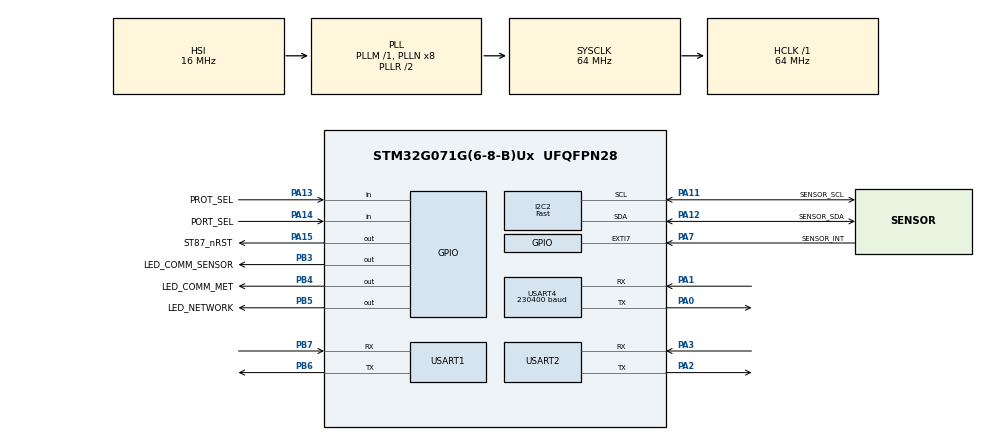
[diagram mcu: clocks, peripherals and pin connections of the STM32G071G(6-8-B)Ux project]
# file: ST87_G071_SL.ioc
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Dma.Request0=USART4_TX
Dma.USART4_TX.0.Direction=DMA_MEMORY_TO_PERIPH
Dma.USART4_TX.0.EventEnable=DISABLE
Dma.USART4_TX.0.Instance=DMA1_Channel4
Dma.USART4_TX.0.MemDataAlignment=DMA_MDATAALIGN_BYTE
Dma.USART4_TX.0.MemInc=DMA_MINC_ENABLE
Dma.USART4_TX.0.Mode=DMA_NORMAL
Dma.USART4_TX.0.PeriphDataAlignment=DMA_PDATAALIGN_BYTE
Dma.USART4_TX.0.PeriphInc=DMA_PINC_DISABLE
Dma.USART4_TX.0.Polarity=HAL_DMAMUX_REQ_GEN_RISING
Dma.USART4_TX.0.Priority=DMA_PRIORITY_LOW
Dma.USART4_TX.0.RequestNumber=1
Dma.USART4_TX.0.SignalID=NONE
Dma.USART4_TX.0.SyncEnable=DISABLE
Dma.USART4_TX.0.SyncPolarity=HAL_DMAMUX_SYNC_NO_EVENT
Dma.USART4_TX.0.SyncRequestNumber=1
Dma.USART4_TX.0.SyncSignalID=NONE
FREERTOS.Queues01=MetroQueue,1,20,1,Dynamic,NULL,NULL;SensorQueue,1,20,1,Dynamic,NULL,NULL;LedStatusQueue,1,4,1,Dynamic,NULL,NULL;MetroCommStatus,1,uint8_t,0,Dynamic,NULL,NULL;ST87CommStatus,1,uint8_t,0,Dynamic,NULL,NULL;LedStatusQueueCloud,1,4,1,Dynamic,NULL,NULL
FREERTOS.Tasks01=defaultTask,24,128,StartDefaultTask,Default,NULL,Dynamic,NULL,NULL;CloudTask,24,128,StartCloudTask,Default,NULL,Dynamic,NULL,NULL;MetroTask,24,128,StartMetroTask,Default,NULL,Dynamic,NULL,NULL;SensorTask,24,128,StartSensorTask,Default,NULL,Dynamic,NULL,NULL
FREERTOS.configTOTAL_HEAP_SIZE=12000
I2C2.I2C_Speed_Mode=I2C_Fast
I2C2.Timing=0x00C12166
Mcu.Family=STM32G0
Mcu.Name=STM32G071G(6-8-B)Ux
Mcu.Package=UFQFPN28
NVIC.DMA1_Ch4_7_DMAMUX1_OVR_IRQn=true\:3\:0\:false\:false\:true\:false\:false\:true\:true
NVIC.TIM1_BRK_UP_TRG_COM_IRQn=true\:1\:0\:true\:false\:true\:false\:true\:true\:true
NVIC.TIM6_DAC_LPTIM1_IRQn=true\:3\:0\:false\:false\:true\:false\:false\:true\:true
NVIC.TimeBase=TIM6_DAC_LPTIM1_IRQn
NVIC.TimeBaseIP=TIM6
NVIC.USART2_IRQn=true\:2\:0\:true\:false\:true\:false\:true\:true\:true
NVIC.USART3_4_LPUART1_IRQn=true\:3\:0\:false\:false\:true\:true\:true\:true\:true
PA0.Mode=Asynchronous
PA0.Signal=USART4_TX
PA1.Mode=Asynchronous
PA1.Signal=USART4_RX
PA11\ [PA9].GPIO_Label=SENSOR_SCL
PA11\ [PA9].Mode=I2C
PA11\ [PA9].Signal=I2C2_SCL
PA12\ [PA10].GPIO_Label=SENSOR_SDA
PA12\ [PA10].Mode=I2C
PA12\ [PA10].Signal=I2C2_SDA
PA13.GPIO_Label=PROT_SEL
PA13.GPIO_PuPd=GPIO_PULLUP
PA13.Signal=GPIO_Input
PA14-BOOT0.GPIO_Label=PORT_SEL
PA14-BOOT0.GPIO_PuPd=GPIO_PULLDOWN
PA14-BOOT0.Signal=GPIO_Input
PA15.GPIO_Label=ST87_nRST
PA15.Signal=GPIO_Output
PA2.GPIO_Speed=GPIO_SPEED_FREQ_MEDIUM
PA2.Mode=Asynchronous
PA2.Signal=USART2_TX
PA3.GPIO_Speed=GPIO_SPEED_FREQ_MEDIUM
PA3.Mode=Asynchronous
PA3.Signal=USART2_RX
PA7.GPIO_Label=SENSOR_INT
PA7.GPIO_PuPd=GPIO_NOPULL
PA7.Signal=GPXTI7
PB3.GPIO_Label=LED_COMM_SENSOR
PB3.Signal=GPIO_Output
PB4.GPIO_Label=LED_COMM_MET
PB4.Signal=GPIO_Output
PB5.GPIO_Label=LED_NETWORK
PB5.Signal=GPIO_Output
PB6.Mode=Asynchronous
PB6.Signal=USART1_TX
PB7.Mode=Asynchronous
PB7.Signal=USART1_RX
ProjectManager.HeapSize=0x400
ProjectManager.StackSize=0x800
ProjectManager.TargetToolchain=EWARM V8.50
RCC.ADCFreq_Value=64000000
RCC.AHBFreq_Value=64000000
RCC.CortexFreq_Value=64000000
RCC.EXTERNAL_CLOCK_VALUE=48000
RCC.HCLKFreq_Value=64000000
RCC.HSE_VALUE=8000000
RCC.HSI_VALUE=16000000
RCC.LSE_VALUE=32768
RCC.PLLQ=RCC_PLLQ_DIV4
RCC.SYSCLKFreq_VALUE=64000000
RCC.SYSCLKSource=RCC_SYSCLKSOURCE_PLLCLK
RCC.VCOOutputFreq_Value=128000000
TIM1.Period=63999
USART1.DataInvertParam=ADVFEATURE_DATAINV_DISABLE
USART1.SwapParam=ADVFEATURE_SWAP_ENABLE
USART1.VirtualMode-Asynchronous=VM_ASYNC
USART2.SwapParam=ADVFEATURE_SWAP_ENABLE
USART2.VirtualMode-Asynchronous=VM_ASYNC
USART4.BaudRate=230400
USART4.VirtualMode-Asynchronous=VM_ASYNC
VP_FREERTOS_VS_CMSIS_V2.Mode=CMSIS_V2
VP_SYS_VS_DBSignals.Mode=DisableDeadBatterySignals
VP_SYS_VS_tim6.Mode=TIM6
VP_TIM1_VS_ClockSourceINT.Mode=Internal
board=custom

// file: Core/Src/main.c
/* USER CODE BEGIN Header */
/**
  ******************************************************************************
  * @file           : main.c
  * @brief          : Main program body
  ******************************************************************************
  * @attention
  *
  * Copyright (c) 2024 STMicroelectronics.
  * All rights reserved.
  *
  * This software is licensed under terms that can be found in the LICENSE file
  * in the root directory of this software component.
  * If no LICENSE file comes with this software, it is provided AS-IS.
  *
  ******************************************************************************
  */

/************** This version is based on ST87_G071_SL_V007_OK ************/
/********Compatible with ST87 FW version > 2.6.0 *******************
 * - added TCP/UDP selection through PA4 (P3 connector - pin1 )
 * - Tx time configurable from 5 to 60sec via webpage
 * - Stable connection with TIM
 * - changed size of cloud_data_t, lamp_info_t, led_status_t
 * - New webserver format
 * - added 22/jan/26:
 * - Run with WEBSERVER3 or greater
 * - included UDP and UDP_1 for EU -> it uses SWD pin cannot be used for debug!!!!!!!
 * - included the command at#reset=1,1,0xc44f5b7f to make possible configure not official bands like USA bands
 */
/* USER CODE END Header */
#include "main.h"
#include "cmsis_os.h"

/* USER CODE BEGIN Includes */
#include "std_types.h"
#include "m2m_modem.h"
#include "stm32_st87m01.h"
#include "cloud_module.h"
#include "metrology_module.h"
#include "lis2du12_reg.h"
#include "sensor_module.h"
#include "modem_globals.h"
/* USER CODE END Includes */

I2C_HandleTypeDef hi2c2;

TIM_HandleTypeDef htim1;

UART_HandleTypeDef huart1;
UART_HandleTypeDef huart2;
UART_HandleTypeDef huart4;
DMA_HandleTypeDef hdma_usart4_tx;

/* Definitions for defaultTask */
osThreadId_t defaultTaskHandle;
const osThreadAttr_t defaultTask_attributes = {
  .name = "defaultTask",
  .priority = (osPriority_t) osPriorityNormal,
  .stack_size = 128 * 4
};
/* Definitions for CloudTask */
osThreadId_t CloudTaskHandle;
const osThreadAttr_t CloudTask_attributes = {
  .name = "CloudTask",
  .priority = (osPriority_t) osPriorityNormal,
  .stack_size = 128 * 4
};
/* Definitions for MetroTask */
osThreadId_t MetroTaskHandle;
const osThreadAttr_t MetroTask_attributes = {
  .name = "MetroTask",
  .priority = (osPriority_t) osPriorityNormal,
  .stack_size = 128 * 4
};
/* Definitions for SensorTask */
osThreadId_t SensorTaskHandle;
const osThreadAttr_t SensorTask_attributes = {
  .name = "SensorTask",
  .priority = (osPriority_t) osPriorityNormal,
  .stack_size = 128 * 4
};
/* Definitions for MetroQueue */
osMessageQueueId_t MetroQueueHandle;
const osMessageQueueAttr_t MetroQueue_attributes = {
  .name = "MetroQueue"
};
/* Definitions for SensorQueue */
osMessageQueueId_t SensorQueueHandle;
const osMessageQueueAttr_t SensorQueue_attributes = {
  .name = "SensorQueue"
};
/* Definitions for LedStatusQueue */
osMessageQueueId_t LedStatusQueueHandle;
const osMessageQueueAttr_t LedStatusQueue_attributes = {
  .name = "LedStatusQueue"
};
/* Definitions for MetroCommStatus */
osMessageQueueId_t MetroCommStatusHandle;
const osMessageQueueAttr_t MetroCommStatus_attributes = {
  .name = "MetroCommStatus"
};
/* Definitions for ST87CommStatus */
osMessageQueueId_t ST87CommStatusHandle;
const osMessageQueueAttr_t ST87CommStatus_attributes = {
  .name = "ST87CommStatus"
};
/* Definitions for LedStatusQueueCloud */
osMessageQueueId_t LedStatusQueueCloudHandle;
const osMessageQueueAttr_t LedStatusQueueCloud_attributes = {
  .name = "LedStatusQueueCloud"
};
/* USER CODE BEGIN PV */
uint32_t urc_counter=0;
uint8_t sckt_type;
uint8_t port_number=0;

/* USER CODE END PV */

void SystemClock_Config(void);
static void MX_GPIO_Init(void);
static void MX_DMA_Init(void);
static void MX_USART1_UART_Init(void);
static void MX_USART2_UART_Init(void);
static void MX_I2C2_Init(void);
static void MX_USART4_UART_Init(void);
void StartDefaultTask(void *argument);
void StartCloudTask(void *argument);
void StartMetroTask(void *argument);
void StartSensorTask(void *argument);

int main(void)
{

  /* MCU Configuration--------------------------------------------------------*/

  /* Reset of all peripherals, Initializes the Flash interface and the Systick. */
  HAL_Init();

  /* Configure the system clock */
  SystemClock_Config();

  /* Initialize all configured peripherals */
  MX_GPIO_Init();
  MX_DMA_Init();
  MX_USART1_UART_Init();
  MX_USART2_UART_Init();
  MX_I2C2_Init();
  MX_TIM1_Init();
  MX_USART4_UART_Init();
  /* USER CODE BEGIN 2 */

//  while (1)
//  {
//    USART2->TDR = 0x39;
//    HAL_Delay (1000);
//  }
//
  /* Start Channel1 */
  if (HAL_TIM_Base_Start_IT(&htim1) != HAL_OK)
  {
    /* Starting Error */
    Error_Handler();
  }

  //all Leds ON
  HAL_GPIO_WritePin(LED_NETWORK_GPIO_Port,  LED_NETWORK_Pin, GPIO_PIN_RESET);
  HAL_GPIO_WritePin(LED_COMM_MET_GPIO_Port, LED_COMM_MET_Pin, GPIO_PIN_RESET);
  HAL_GPIO_WritePin(LED_COMM_SENSOR_GPIO_Port, LED_COMM_SENSOR_Pin, GPIO_PIN_RESET);
  HAL_Delay (1000);
  HAL_GPIO_WritePin(LED_NETWORK_GPIO_Port,  LED_NETWORK_Pin, GPIO_PIN_SET);
  HAL_GPIO_WritePin(LED_COMM_MET_GPIO_Port, LED_COMM_MET_Pin, GPIO_PIN_SET);
  HAL_GPIO_WritePin(LED_COMM_SENSOR_GPIO_Port, LED_COMM_SENSOR_Pin, GPIO_PIN_SET);
  HAL_Delay (500);

#ifndef DEBUG_MODE
  /* define the protocol used by the application
   * PROT_SEL/PA13/SWDIO - default no jumper PA13 = 1 (internal pullup)
   * PROT_SEL/PA13/SWDIO - jumper P1-3 and P1-4
   */
  if (HAL_GPIO_ReadPin(PROT_SEL_GPIO_Port, PROT_SEL_Pin)==GPIO_PIN_SET)
  {
    sckt_type = UDP_TYPE;
    HAL_GPIO_WritePin(LED_NETWORK_GPIO_Port,  LED_NETWORK_Pin, GPIO_PIN_RESET);
    HAL_Delay(500);
    HAL_GPIO_WritePin(LED_NETWORK_GPIO_Port,  LED_NETWORK_Pin, GPIO_PIN_SET);
    HAL_Delay(1000);
  }
  else
  {
    sckt_type = TCP_TYPE;
    HAL_GPIO_WritePin(LED_NETWORK_GPIO_Port,  LED_NETWORK_Pin, GPIO_PIN_RESET);
    HAL_Delay(500);
    HAL_GPIO_WritePin(LED_NETWORK_GPIO_Port,  LED_NETWORK_Pin, GPIO_PIN_SET);
    HAL_Delay(500);
    HAL_GPIO_WritePin(LED_NETWORK_GPIO_Port,  LED_NETWORK_Pin, GPIO_PIN_RESET);
    HAL_Delay(500);
    HAL_GPIO_WritePin(LED_NETWORK_GPIO_Port,  LED_NETWORK_Pin, GPIO_PIN_SET);
    HAL_Delay(1000);
  }
#else
  // bernardino: change default sckt_type in debug mode to be TCP rather than UDP
  //sckt_type = UDP_TYPE;
  sckt_type = TCP_TYPE;

#endif

#ifndef DEBUG_MODE
  /* define the port used by the application
   * PORT_SEL/PA14/SWDCLK - default no jumper PA14 = 0 (internal pulldown)
   * PORT_SEL/PA14/SWDCLK - jumper P1-1 and P1-2
   */
  if (HAL_GPIO_ReadPin(PORT_SEL_GPIO_Port, PORT_SEL_Pin)==GPIO_PIN_RESET)
  {
    //port 0
    port_number=0;
    HAL_GPIO_WritePin(LED_COMM_MET_GPIO_Port, LED_COMM_MET_Pin, GPIO_PIN_RESET);
    HAL_Delay(500);
    HAL_GPIO_WritePin(LED_COMM_MET_GPIO_Port, LED_COMM_MET_Pin, GPIO_PIN_SET);
    HAL_Delay(1000);
  }
  else
  {
    //port 1
    port_number=1;
    HAL_GPIO_WritePin(LED_COMM_MET_GPIO_Port, LED_COMM_MET_Pin, GPIO_PIN_RESET);
    HAL_Delay(500);
    HAL_GPIO_WritePin(LED_COMM_MET_GPIO_Port, LED_COMM_MET_Pin, GPIO_PIN_SET);
    HAL_Delay(500);
    HAL_GPIO_WritePin(LED_COMM_MET_GPIO_Port, LED_COMM_MET_Pin, GPIO_PIN_RESET);
    HAL_Delay(500);
    HAL_GPIO_WritePin(LED_COMM_MET_GPIO_Port, LED_COMM_MET_Pin, GPIO_PIN_SET);
    HAL_Delay(1000);
  }
#else
  port_number=0;
#endif

  /* USER CODE END 2 */

  /* Init scheduler */
  osKernelInitialize();

  /* Create the queue(s) */
  /* creation of MetroQueue */
  MetroQueueHandle = osMessageQueueNew (1, 20, &MetroQueue_attributes);

  /* creation of SensorQueue */
  SensorQueueHandle = osMessageQueueNew (1, 20, &SensorQueue_attributes);

  /* creation of LedStatusQueue */
  LedStatusQueueHandle = osMessageQueueNew (1, 4, &LedStatusQueue_attributes);

  /* creation of MetroCommStatus */
  MetroCommStatusHandle = osMessageQueueNew (1, sizeof(uint8_t), &MetroCommStatus_attributes);

  /* creation of ST87CommStatus */
  ST87CommStatusHandle = osMessageQueueNew (1, sizeof(uint8_t), &ST87CommStatus_attributes);

  /* creation of LedStatusQueueCloud */
  LedStatusQueueCloudHandle = osMessageQueueNew (1, 4, &LedStatusQueueCloud_attributes);

  /* Create the thread(s) */
  /* creation of defaultTask */
  defaultTaskHandle = osThreadNew(StartDefaultTask, NULL, &defaultTask_attributes);

  /* creation of CloudTask */
  CloudTaskHandle = osThreadNew(StartCloudTask, NULL, &CloudTask_attributes);

  /* creation of MetroTask */
  MetroTaskHandle = osThreadNew(StartMetroTask, NULL, &MetroTask_attributes);

  /* creation of SensorTask */
  SensorTaskHandle = osThreadNew(StartSensorTask, NULL, &SensorTask_attributes);

  /* Start scheduler */
  osKernelStart();

  /* We should never get here as control is now taken by the scheduler */

  /* Infinite loop */
  while (1)
  {

  }
}

void SystemClock_Config(void)
{
  RCC_OscInitTypeDef RCC_OscInitStruct = {0};
  RCC_ClkInitTypeDef RCC_ClkInitStruct = {0};

  /** Configure the main internal regulator output voltage
  */
  HAL_PWREx_ControlVoltageScaling(PWR_REGULATOR_VOLTAGE_SCALE1);

  /** Initializes the RCC Oscillators according to the specified parameters
  * in the RCC_OscInitTypeDef structure.
  */
  RCC_OscInitStruct.OscillatorType = RCC_OSCILLATORTYPE_HSI;
  RCC_OscInitStruct.HSIState = RCC_HSI_ON;
  RCC_OscInitStruct.HSIDiv = RCC_HSI_DIV1;
  RCC_OscInitStruct.HSICalibrationValue = RCC_HSICALIBRATION_DEFAULT;
  RCC_OscInitStruct.PLL.PLLState = RCC_PLL_ON;
  RCC_OscInitStruct.PLL.PLLSource = RCC_PLLSOURCE_HSI;
  RCC_OscInitStruct.PLL.PLLM = RCC_PLLM_DIV1;
  RCC_OscInitStruct.PLL.PLLN = 8;
  RCC_OscInitStruct.PLL.PLLP = RCC_PLLP_DIV2;
  RCC_OscInitStruct.PLL.PLLQ = RCC_PLLQ_DIV4;
  RCC_OscInitStruct.PLL.PLLR = RCC_PLLR_DIV2;
  if (HAL_RCC_OscConfig(&RCC_OscInitStruct) != HAL_OK)
  {
    Error_Handler();
  }

  /** Initializes the CPU, AHB and APB buses clocks
  */
  RCC_ClkInitStruct.ClockType = RCC_CLOCKTYPE_HCLK|RCC_CLOCKTYPE_SYSCLK
                              |RCC_CLOCKTYPE_PCLK1;
  RCC_ClkInitStruct.SYSCLKSource = RCC_SYSCLKSOURCE_PLLCLK;
  RCC_ClkInitStruct.AHBCLKDivider = RCC_SYSCLK_DIV1;
  RCC_ClkInitStruct.APB1CLKDivider = RCC_HCLK_DIV1;

  if (HAL_RCC_ClockConfig(&RCC_ClkInitStruct, FLASH_LATENCY_2) != HAL_OK)
  {
    Error_Handler();
  }
}

static void MX_I2C2_Init(void)
{

  hi2c2.Instance = I2C2;
  hi2c2.Init.Timing = 0x00C12166;
  hi2c2.Init.OwnAddress1 = 0;
  hi2c2.Init.AddressingMode = I2C_ADDRESSINGMODE_7BIT;
  hi2c2.Init.DualAddressMode = I2C_DUALADDRESS_DISABLE;
  hi2c2.Init.OwnAddress2 = 0;
  hi2c2.Init.OwnAddress2Masks = I2C_OA2_NOMASK;
  hi2c2.Init.GeneralCallMode = I2C_GENERALCALL_DISABLE;
  hi2c2.Init.NoStretchMode = I2C_NOSTRETCH_DISABLE;
  if (HAL_I2C_Init(&hi2c2) != HAL_OK)
  {
    Error_Handler();
  }

  /** Configure Analogue filter
  */
  if (HAL_I2CEx_ConfigAnalogFilter(&hi2c2, I2C_ANALOGFILTER_ENABLE) != HAL_OK)
  {
    Error_Handler();
  }

  /** Configure Digital filter
  */
  if (HAL_I2CEx_ConfigDigitalFilter(&hi2c2, 0) != HAL_OK)
  {
    Error_Handler();
  }

}

void MX_TIM1_Init(void)
{

  TIM_ClockConfigTypeDef sClockSourceConfig = {0};
  TIM_MasterConfigTypeDef sMasterConfig = {0};

  htim1.Instance = TIM1;
  htim1.Init.Prescaler = 0;
  htim1.Init.CounterMode = TIM_COUNTERMODE_UP;
  htim1.Init.Period = 63999;
  htim1.Init.ClockDivision = TIM_CLOCKDIVISION_DIV1;
  htim1.Init.RepetitionCounter = 0;
  htim1.Init.AutoReloadPreload = TIM_AUTORELOAD_PRELOAD_DISABLE;
  if (HAL_TIM_Base_Init(&htim1) != HAL_OK)
  {
    Error_Handler();
  }
  sClockSourceConfig.ClockSource = TIM_CLOCKSOURCE_INTERNAL;
  if (HAL_TIM_ConfigClockSource(&htim1, &sClockSourceConfig) != HAL_OK)
  {
    Error_Handler();
  }
  sMasterConfig.MasterOutputTrigger = TIM_TRGO_RESET;
  sMasterConfig.MasterOutputTrigger2 = TIM_TRGO2_RESET;
  sMasterConfig.MasterSlaveMode = TIM_MASTERSLAVEMODE_DISABLE;
  if (HAL_TIMEx_MasterConfigSynchronization(&htim1, &sMasterConfig) != HAL_OK)
  {
    Error_Handler();
  }

}

static void MX_USART1_UART_Init(void)
{

  huart1.Instance = USART1;
  huart1.Init.BaudRate = 115200;
  huart1.Init.WordLength = UART_WORDLENGTH_8B;
  huart1.Init.StopBits = UART_STOPBITS_1;
  huart1.Init.Parity = UART_PARITY_NONE;
  huart1.Init.Mode = UART_MODE_TX_RX;
  huart1.Init.HwFlowCtl = UART_HWCONTROL_NONE;
  huart1.Init.OverSampling = UART_OVERSAMPLING_16;
  huart1.Init.OneBitSampling = UART_ONE_BIT_SAMPLE_DISABLE;
  huart1.Init.ClockPrescaler = UART_PRESCALER_DIV1;
  huart1.AdvancedInit.AdvFeatureInit = UART_ADVFEATURE_SWAP_INIT;
  huart1.AdvancedInit.Swap = UART_ADVFEATURE_SWAP_ENABLE;
  if (HAL_UART_Init(&huart1) != HAL_OK)
  {
    Error_Handler();
  }
  if (HAL_UARTEx_SetTxFifoThreshold(&huart1, UART_TXFIFO_THRESHOLD_1_8) != HAL_OK)
  {
    Error_Handler();
  }
  if (HAL_UARTEx_SetRxFifoThreshold(&huart1, UART_RXFIFO_THRESHOLD_1_8) != HAL_OK)
  {
    Error_Handler();
  }
  if (HAL_UARTEx_DisableFifoMode(&huart1) != HAL_OK)
  {
    Error_Handler();
  }
  /* USER CODE BEGIN USART1_Init 2 */
  //NVIC_SetPriority(USART1_IRQn, NVIC_EncodePriority(NVIC_GetPriorityGrouping(),5, 0));
  //NVIC_EnableIRQ(USART1_IRQn);
  /* USER CODE END USART1_Init 2 */

}

static void MX_USART2_UART_Init(void)
{

  huart2.Instance = USART2;
  huart2.Init.BaudRate = 115200;
  huart2.Init.WordLength = UART_WORDLENGTH_8B;
  huart2.Init.StopBits = UART_STOPBITS_1;
  huart2.Init.Parity = UART_PARITY_NONE;
  huart2.Init.Mode = UART_MODE_TX_RX;
  huart2.Init.HwFlowCtl = UART_HWCONTROL_NONE;
  huart2.Init.OverSampling = UART_OVERSAMPLING_16;
  huart2.Init.OneBitSampling = UART_ONE_BIT_SAMPLE_DISABLE;
  huart2.Init.ClockPrescaler = UART_PRESCALER_DIV1;
  huart2.AdvancedInit.AdvFeatureInit = UART_ADVFEATURE_SWAP_INIT;
  huart2.AdvancedInit.Swap = UART_ADVFEATURE_SWAP_ENABLE;
  if (HAL_UART_Init(&huart2) != HAL_OK)
  {
    Error_Handler();
  }
  if (HAL_UARTEx_SetTxFifoThreshold(&huart2, UART_TXFIFO_THRESHOLD_1_8) != HAL_OK)
  {
    Error_Handler();
  }
  if (HAL_UARTEx_SetRxFifoThreshold(&huart2, UART_RXFIFO_THRESHOLD_1_8) != HAL_OK)
  {
    Error_Handler();
  }
  if (HAL_UARTEx_DisableFifoMode(&huart2) != HAL_OK)
  {
    Error_Handler();
  }

}

static void MX_USART4_UART_Init(void)
{

  huart4.Instance = USART4;
  huart4.Init.BaudRate = 230400;
  huart4.Init.WordLength = UART_WORDLENGTH_8B;
  huart4.Init.StopBits = UART_STOPBITS_1;
  huart4.Init.Parity = UART_PARITY_NONE;
  huart4.Init.Mode = UART_MODE_TX_RX;
  huart4.Init.HwFlowCtl = UART_HWCONTROL_NONE;
  huart4.Init.OverSampling = UART_OVERSAMPLING_16;
  huart4.Init.OneBitSampling = UART_ONE_BIT_SAMPLE_DISABLE;
  huart4.Init.ClockPrescaler = UART_PRESCALER_DIV1;
  huart4.AdvancedInit.AdvFeatureInit = UART_ADVFEATURE_NO_INIT;
  if (HAL_UART_Init(&huart4) != HAL_OK)
  {
    Error_Handler();
  }

}

static void MX_DMA_Init(void)
{

  /* DMA controller clock enable */
  __HAL_RCC_DMA1_CLK_ENABLE();

  /* DMA interrupt init */
  /* DMA1_Ch4_7_DMAMUX1_OVR_IRQn interrupt configuration */
  HAL_NVIC_SetPriority(DMA1_Ch4_7_DMAMUX1_OVR_IRQn, 3, 0);
  HAL_NVIC_EnableIRQ(DMA1_Ch4_7_DMAMUX1_OVR_IRQn);

}

static void MX_GPIO_Init(void)
{
  LL_EXTI_InitTypeDef EXTI_InitStruct = {0};
  LL_GPIO_InitTypeDef GPIO_InitStruct = {0};

  /* GPIO Ports Clock Enable */
  LL_IOP_GRP1_EnableClock(LL_IOP_GRP1_PERIPH_GPIOA);
  LL_IOP_GRP1_EnableClock(LL_IOP_GRP1_PERIPH_GPIOB);

  /**/
  LL_GPIO_ResetOutputPin(ST87_nRST_GPIO_Port, ST87_nRST_Pin);

  /**/
  LL_GPIO_ResetOutputPin(LED_COMM_SENSOR_GPIO_Port, LED_COMM_SENSOR_Pin);

  /**/
  LL_GPIO_ResetOutputPin(LED_COMM_MET_GPIO_Port, LED_COMM_MET_Pin);

  /**/
  LL_GPIO_ResetOutputPin(LED_NETWORK_GPIO_Port, LED_NETWORK_Pin);

  /**/
  LL_EXTI_SetEXTISource(LL_EXTI_CONFIG_PORTA, LL_EXTI_CONFIG_LINE7);

  /**/
  EXTI_InitStruct.Line_0_31 = LL_EXTI_LINE_7;
  EXTI_InitStruct.LineCommand = ENABLE;
  EXTI_InitStruct.Mode = LL_EXTI_MODE_IT;
  EXTI_InitStruct.Trigger = LL_EXTI_TRIGGER_RISING;
  LL_EXTI_Init(&EXTI_InitStruct);

  /**/
  LL_GPIO_SetPinPull(SENSOR_INT_GPIO_Port, SENSOR_INT_Pin, LL_GPIO_PULL_NO);

  /**/
  LL_GPIO_SetPinMode(SENSOR_INT_GPIO_Port, SENSOR_INT_Pin, LL_GPIO_MODE_INPUT);

#ifndef DEBUG_MODE
  /**/
  GPIO_InitStruct.Pin = PROT_SEL_Pin;
  GPIO_InitStruct.Mode = LL_GPIO_MODE_INPUT;
  GPIO_InitStruct.Pull = LL_GPIO_PULL_UP;
  LL_GPIO_Init(PROT_SEL_GPIO_Port, &GPIO_InitStruct);

  /**/
  GPIO_InitStruct.Pin = PORT_SEL_Pin;
  GPIO_InitStruct.Mode = LL_GPIO_MODE_INPUT;
  GPIO_InitStruct.Pull = LL_GPIO_PULL_DOWN;
  LL_GPIO_Init(PORT_SEL_GPIO_Port, &GPIO_InitStruct);
#endif

  /**/
  GPIO_InitStruct.Pin = ST87_nRST_Pin;
  GPIO_InitStruct.Mode = LL_GPIO_MODE_OUTPUT;
  GPIO_InitStruct.Speed = LL_GPIO_SPEED_FREQ_LOW;
  GPIO_InitStruct.OutputType = LL_GPIO_OUTPUT_PUSHPULL;
  GPIO_InitStruct.Pull = LL_GPIO_PULL_NO;
  LL_GPIO_Init(ST87_nRST_GPIO_Port, &GPIO_InitStruct);

  /**/
  GPIO_InitStruct.Pin = LED_COMM_SENSOR_Pin;
  GPIO_InitStruct.Mode = LL_GPIO_MODE_OUTPUT;
  GPIO_InitStruct.Speed = LL_GPIO_SPEED_FREQ_LOW;
  GPIO_InitStruct.OutputType = LL_GPIO_OUTPUT_PUSHPULL;
  GPIO_InitStruct.Pull = LL_GPIO_PULL_NO;
  LL_GPIO_Init(LED_COMM_SENSOR_GPIO_Port, &GPIO_InitStruct);

  /**/
  GPIO_InitStruct.Pin = LED_COMM_MET_Pin;
  GPIO_InitStruct.Mode = LL_GPIO_MODE_OUTPUT;
  GPIO_InitStruct.Speed = LL_GPIO_SPEED_FREQ_LOW;
  GPIO_InitStruct.OutputType = LL_GPIO_OUTPUT_PUSHPULL;
  GPIO_InitStruct.Pull = LL_GPIO_PULL_NO;
  LL_GPIO_Init(LED_COMM_MET_GPIO_Port, &GPIO_InitStruct);

  /**/
  GPIO_InitStruct.Pin = LED_NETWORK_Pin;
  GPIO_InitStruct.Mode = LL_GPIO_MODE_OUTPUT;
  GPIO_InitStruct.Speed = LL_GPIO_SPEED_FREQ_LOW;
  GPIO_InitStruct.OutputType = LL_GPIO_OUTPUT_PUSHPULL;
  GPIO_InitStruct.Pull = LL_GPIO_PULL_NO;
  LL_GPIO_Init(LED_NETWORK_GPIO_Port, &GPIO_InitStruct);

}

void StartDefaultTask(void *argument)
{
  for(;;)
  {
    osDelay(1);
  }
}

void StartCloudTask(void *argument)
{
  /* USER CODE BEGIN StartCloudTask */

  /*Init modem peripherals */
  m2m_modem_init();

  /* Infinite loop */

//  osMessageQueueGet(MetQueue01Handle, &gbu[0] , 0,0);
  demo_controller();
  //mqtt_demo_controller();
  //mqtt_demo_controller_ST87DEMO();
  /* USER CODE END StartCloudTask */
}

void StartMetroTask(void *argument)
{
  /* USER CODE BEGIN StartMetroTask */
   Metrology_controller_init ();

  /* Infinite loop */
  for(;;)
  {
    Metrology_controler ();
  }
  /* USER CODE END StartMetroTask */
}

void StartSensorTask(void *argument)
{
  /* USER CODE BEGIN StartSensorTask */
  Sensor_Init();

  /* Infinite loop */
  for(;;)
  {
    Sensor_Controller ();
  }
  /* USER CODE END StartSensorTask */
}

void HAL_TIM_PeriodElapsedCallback(TIM_HandleTypeDef *htim)
{
  if (htim->Instance == TIM6)
  {
    HAL_IncTick();
  }
  /* USER CODE BEGIN Callback 1 */
  if (htim->Instance == TIM_MODEM)
  {
    modemTick++;
    if (modemTimeout)
    {
      modemTimeout--;
    }
    Modem_TIM_Handler (htim);
  }
  /* USER CODE END Callback 1 */
}

void Error_Handler(void)
{
  __disable_irq();
  while (1)
  {
  }
}
